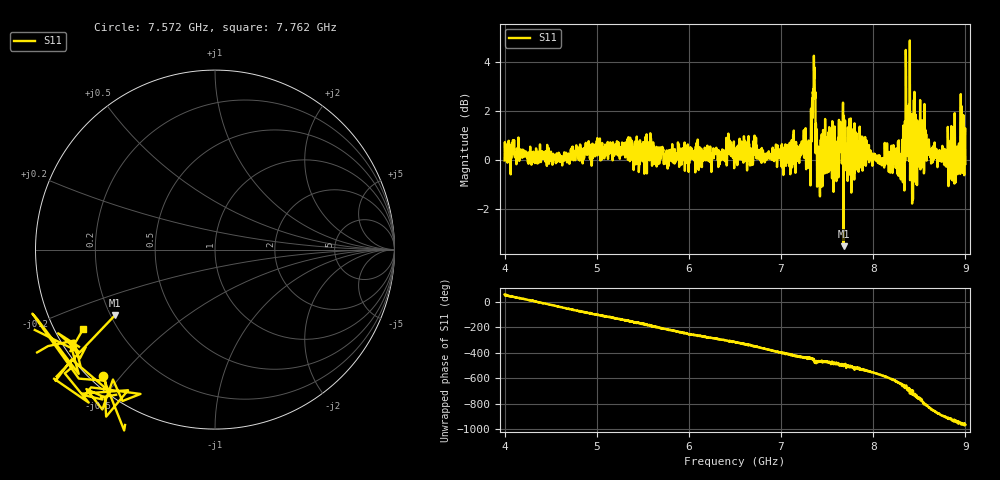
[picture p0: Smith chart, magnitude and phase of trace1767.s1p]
! Created with skrf 1.8.0 (http://scikit-rf.org).
# Hz S RI R 50.0
!freq ReS11 ImS11
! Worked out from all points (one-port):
!   1601 points, 4 GHz to 9 GHz, reference 50 ohm
!   lowest |S11| = -3.5 dB at 7.678 GHz (marker M1), VSWR 4.99, Z = 10.9 - j14.3 ohm
!   |S11| at or under -10 dB: nowhere
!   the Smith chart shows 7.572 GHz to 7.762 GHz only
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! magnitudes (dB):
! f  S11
! 4 GHz  0.0
! 4.625 GHz  -0.2
! 5.25 GHz  0.0
! 5.875 GHz  0.2
! 6.5 GHz  0.2
! 7.125 GHz  0.3
! 7.297 GHz  0.8
! 7.319 GHz  -1.0
! 7.347 GHz  2.7
! 7.362 GHz  3.8
! 7.397 GHz  -0.6
! 7.412 GHz  -1.0
! 7.503 GHz  0.7
! 7.591 GHz  0.4
! 7.65 GHz  1.3
! 7.678 GHz  -3.5
! 7.75 GHz  -0.1
! 7.769 GHz  0.1
! 7.878 GHz  0.7
! 8.316 GHz  0.8
! 8.334 GHz  -0.3
! 8.375 GHz  0.2
! 8.425 GHz  -1.3
! 8.519 GHz  1.1
! 8.712 GHz  0.2
! 8.919 GHz  0.0
! 8.953 GHz  -0.1
! 9 GHz  -0.2
